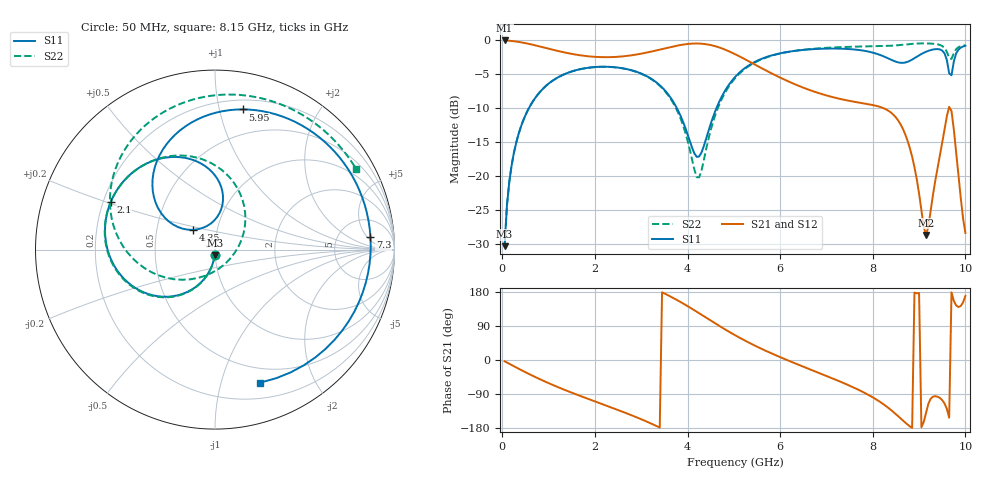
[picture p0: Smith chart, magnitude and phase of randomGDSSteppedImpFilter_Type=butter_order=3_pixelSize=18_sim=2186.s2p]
! freq	dB(S11)	phase(S11)	dB(S12)	phase(S12)
!  dB(S21)	phase(S21)	dB(S22)	phase(S22)
!S-par simulation data
#  GHz  S  DB  R 50
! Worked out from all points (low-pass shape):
!   200 points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, 50 MHz to 10 GHz, reference 50 ohm
!   highest |S21| = -0.01 dB at 50 MHz (marker M1); lowest = -28.7 dB at 9.15 GHz (marker M2)
!   |S21| within 3 dB of the highest: start of sweep to 5.304 GHz
!   lowest |S11| = -30.3 dB at 50 MHz (marker M3), VSWR 1.06, Z = 49.7 - j3.03 ohm
!   |S11| at or under -10 dB: start of sweep to 574.1 MHz; 3.77 GHz to 4.624 GHz (853.9 MHz wide, 20.3 % of centre)
!   |S22| runs from -30.3 to -0.4 dB; largest |S21 - S12| = 0
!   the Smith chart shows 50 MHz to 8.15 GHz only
!   S11 on the Smith chart (normalised r, x): 50 MHz: 0.99, -0.06; 2.1 GHz: 0.23, +0.21; 4.35 GHz: 0.76, +0.17; 5.95 GHz: 0.28, +1.18; 7.3 GHz: 11, +6; 8.15 GHz: 0.35, -1.34
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0.05  -30.33 -93.4  -0.01 -3.3  -0.01 -3.3  -30.33 -93.4
0.2  -18.47 -103.8  -0.08 -13.2  -0.08 -13.2  -18.47 -103.6
0.5  -11.03 -123.0  -0.41 -32.3  -0.41 -32.3  -11.03 -122.6
1.75  -4.15 171.1  -2.26 -97.9  -2.26 -97.9  -4.15 172.1
2.1  -3.89 155.4  -2.46 -113.8  -2.46 -113.8  -3.90 156.2
3.4  -6.61 96.5  -1.36 -178.2  -1.36 -178.2  -6.69 88.6
4.2  -17.18 109.7  -0.46 127.3  -0.46 127.3  -20.17 -31.6
4.35  -15.62 138.4  -0.52 115.8  -0.52 115.8  -17.72 -97.3
5.05  -5.23 128.8  -2.11 63.8  -2.11 63.8  -5.40 174.0
5.95  -1.98 78.9  -5.32 10.2  -5.32 10.2  -2.01 119.5
6.7  -1.30 39.2  -7.47 -27.4  -7.47 -27.4  -1.24 85.2
7.3  -1.22 4.6  -8.64 -57.2  -8.64 -57.2  -0.99 61.0
7.75  -1.46 -28.2  -9.22 -82.1  -9.22 -82.1  -0.91 43.9
8.15  -2.13 -71.1  -9.79 -109.9  -9.79 -109.9  -0.86 29.6
8.35  -2.70 -103.3  -10.42 -127.7  -10.42 -127.7  -0.81 22.8
8.7  -3.26 174.9  -13.83 -165.0  -13.83 -165.0  -0.61 10.6
8.95  -2.41 114.0  -20.47 176.0  -20.47 176.0  -0.47 0.9
9.15  -1.67 76.7  -28.68 -139.4  -28.68 -139.4  -0.45 -7.4
9.5  -1.50 28.0  -15.06 -105.9  -15.06 -105.9  -0.82 -24.0
9.65  -4.87 14.7  -9.80 -152.3  -9.80 -152.3  -2.60 -28.5
9.75  -3.11 34.5  -13.11 156.0  -13.11 156.0  -1.89 -19.2
10  -0.79 10.0  -28.38 169.0  -28.38 169.0  -0.73 -31.7
